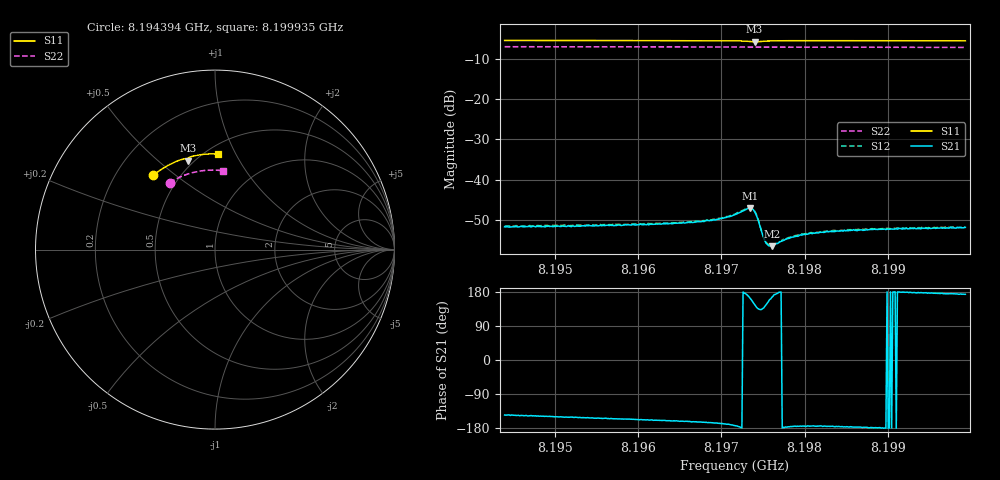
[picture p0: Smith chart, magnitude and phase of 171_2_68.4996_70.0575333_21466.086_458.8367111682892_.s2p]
#  HZ  S  RI  R  50.00
! Rohde & Schwarz Vector Network Analyzer
! Rohde-Schwarz,ZNB20-2Port,1311601062101988,3.16
! Created: UTC 3/20/2024, 5:11:20 PM
! freq[Hz]  re:S11  im:S11  re:S21  im:S21  re:S12  im:S12  re:S22  im:S22
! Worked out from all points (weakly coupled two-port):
!   401 points, 8.194394 GHz to 8.199935 GHz, reference 50 ohm
!   highest |S21| = -47.11 dB at 8.197344 GHz (marker M1); lowest = -56.6 dB at 8.197608 GHz (marker M2)
!   lowest |S11| = -5.7 dB at 8.1974 GHz (marker M3), VSWR 3.15, Z = 23.3 + j31.5 ohm
!   |S11| at or under -10 dB: nowhere
!   |S22| runs from -7.1 to -6.9 dB; largest |S21 - S12| = 0.00024
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8.1943937e9  -0.3429 0.4149  -0.00212 -0.00148  -0.00221 -0.00144  -0.2528 0.3729
8.1953218e9  -0.2894 0.4531  -0.00236 -0.00123  -0.00244 -0.00117  -0.2074 0.3984
8.1962499e9  -0.2314 0.4842  -0.00263 -0.001  -0.00271 -0.000907  -0.1593 0.4183
8.1967902e9  -0.1949 0.4992  -0.00289 -0.000824  -0.00301 -0.000724  -0.1303 0.4275
8.196998e9  -0.1797 0.5039  -0.0032 -0.000695  -0.00327 -0.000592  -0.119 0.4303
8.1971642e9  -0.1659 0.5066  -0.00365 -0.000438  -0.00372 -0.000301  -0.1099 0.4325
8.1973027e9  -0.1528 0.5039  -0.00426 0.000497  -0.00427 0.000722  -0.1021 0.434
8.1973443e9  -0.1499 0.5003  -0.00423 0.00126  -0.00428 0.00143  -0.0997 0.4342
8.197372e9  -0.1498 0.4975  -0.00393 0.00182  -0.0039 0.00205  -0.0983 0.4345
8.1973997e9  -0.1516 0.4953  -0.00332 0.00223  -0.00329 0.00243  -0.0969 0.4346
8.1974274e9  -0.1543 0.4954  -0.00258 0.00232  -0.00254 0.00249  -0.0954 0.435
8.1974967e9  -0.1566 0.5018  -0.00147 0.00144  -0.00139 0.00153  -0.0918 0.436
8.1975244e9  -0.1555 0.5047  -0.00135 0.00106  -0.00135 0.00119  -0.0902 0.4361
8.1975521e9  -0.1537 0.5071  -0.00136 0.000775  -0.00137 0.000847  -0.0886 0.4364
8.1975659e9  -0.1527 0.508  -0.00136 0.000659  -0.00138 0.000721  -0.0879 0.4367
8.1976075e9  -0.1495 0.5106  -0.00144 0.000374  -0.00148 0.000425  -0.0855 0.4371
8.197843e9  -0.1309 0.5184  -0.00191 -0.000145  -0.00195 -7.16e-05  -0.0724 0.4391
8.19794e9  -0.1235 0.5204  -0.00202 -0.000191  -0.00208 -0.000113  -0.0669 0.4398
8.1980924e9  -0.1124 0.523  -0.00211 -0.000227  -0.00215 -0.000119  -0.0583 0.4407
8.1985633e9  -0.0787 0.5288  -0.00234 -0.000144  -0.00236 8.6e-06  -0.0317 0.4425
8.1990205e9  -0.046 0.5322  -0.00242 -2.45e-05  -0.00247 9.42e-05  -0.00582 0.4428
8.1999348e9  0.0188 0.5328  -0.00253 0.000294  -0.00253 0.000418  0.0462 0.4388
